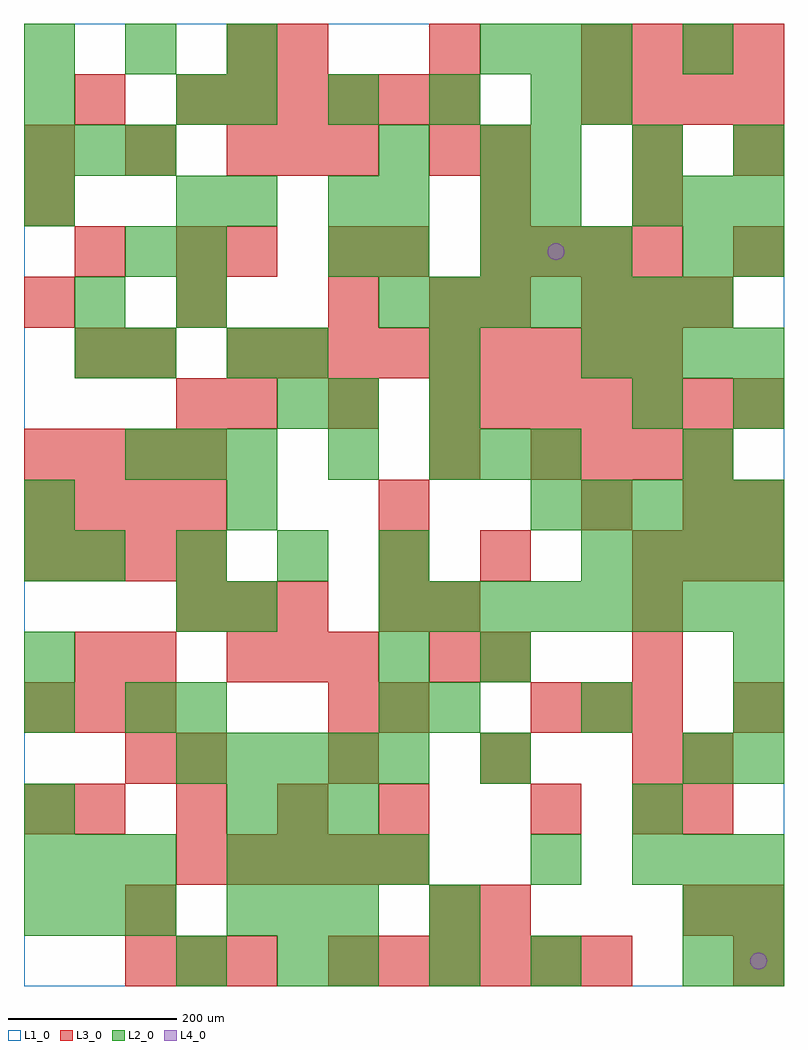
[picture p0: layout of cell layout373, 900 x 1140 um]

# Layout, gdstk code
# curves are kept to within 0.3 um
import gdstk
lib = gdstk.Library(unit=1e-6, precision=1e-09)
def R(c, l, rs):  # rectangles x0, y0, x1, y1
    for r in rs: c.add(gdstk.rectangle(r[:2], r[2:], *l))
def A(c, l, x, y, w, h, nx, ny, dx, dy):  # array of equal rectangles
    R(c, l, [(x+i*dx, y+j*dy, x+i*dx+w, y+j*dy+h) for i in range(nx) for j in range(ny)])
def P(c, l, *ps):  # polygons
    for p in ps: c.add(gdstk.Polygon(p, *l))
L1_0 = (1, 0)
L2_0 = (2, 0)
L3_0 = (3, 0)
L4_0 = (4, 0)

layout373 = lib.new_cell('layout373')
R(layout373, L1_0, [(0,0,900,1140)])
A(layout373, L2_0, 360, 0, 60, 60, 3, 1, 120, 0)
A(layout373, L2_0, 0, 60, 60, 60, 3, 2, 60, 60)
A(layout373, L2_0, 240, 60, 60, 60, 3, 2, 60, 120)
A(layout373, L2_0, 240, 120, 60, 60, 4, 1, 60, 0)
A(layout373, L2_0, 720, 120, 60, 60, 3, 2, 60, 600)
A(layout373, L2_0, 180, 240, 60, 60, 5, 1, 60, 0)
A(layout373, L2_0, 480, 300, 60, 60, 3, 1, 180, 0)
A(layout373, L2_0, 420, 420, 60, 60, 8, 1, 60, 0)
A(layout373, L2_0, 60, 480, 60, 60, 4, 1, 120, 0)
A(layout373, L2_0, 660, 480, 60, 60, 4, 1, 60, 0)
A(layout373, L2_0, 240, 540, 60, 60, 1, 3, 0, 180)
A(layout373, L2_0, 600, 540, 60, 60, 5, 1, 60, 0)
A(layout373, L2_0, 120, 600, 60, 60, 3, 1, 60, 0)
A(layout373, L2_0, 480, 600, 60, 60, 3, 1, 60, 0)
A(layout373, L2_0, 780, 600, 60, 60, 1, 3, 0, 240)
A(layout373, L2_0, 300, 720, 60, 60, 3, 1, 180, 0)
A(layout373, L2_0, 180, 780, 60, 60, 1, 3, 0, 60)
A(layout373, L2_0, 420, 780, 60, 60, 7, 1, 60, 0)
A(layout373, L2_0, 420, 840, 60, 60, 1, 3, 0, 60)
A(layout373, L2_0, 540, 840, 60, 60, 3, 2, 60, 240)
A(layout373, L2_0, 720, 900, 60, 60, 3, 1, 60, 0)
A(layout373, L2_0, 0, 960, 60, 60, 3, 1, 60, 0)
A(layout373, L2_0, 600, 960, 60, 60, 3, 1, 120, 0)
A(layout373, L2_0, 240, 1020, 60, 60, 4, 1, 120, 0)
A(layout373, L2_0, 0, 1080, 60, 60, 3, 1, 120, 0)
R(layout373, L2_0, [(180,0,240,60), (300,0,360,60), (780,0,840,60), (840,0,900,60), (480,60,540,120), (780,60,840,120), (840,60,900,120), (600,120,660,180), (0,180,60,240), (720,180,780,240), (540,240,600,300), (780,240,840,300), (840,240,900,300), (0,300,60,360), (120,300,180,360), (180,300,240,360), (420,300,480,360), (0,360,60,420), (420,360,480,420), (540,360,600,420), (840,360,900,420), (180,420,240,480), (240,420,300,480), (0,480,60,540), (0,540,60,600), (360,600,420,660), (300,660,360,720), (360,660,420,720), (480,660,540,720), (720,660,780,720), (840,660,900,720), (60,720,120,780), (120,720,180,780), (60,780,120,840), (120,840,180,900), (360,840,420,900), (840,840,900,900), (0,900,60,960), (360,900,420,960), (540,900,600,960), (600,900,660,960), (540,960,600,1020), (0,1020,60,1080), (180,1020,240,1080), (660,1020,720,1080)])
A(layout373, L3_0, 120, 0, 60, 60, 3, 1, 60, 0)
A(layout373, L3_0, 360, 0, 60, 60, 6, 1, 60, 0)
A(layout373, L3_0, 840, 60, 60, 60, 1, 3, 0, 240)
A(layout373, L3_0, 180, 120, 60, 60, 5, 1, 60, 0)
A(layout373, L3_0, 60, 180, 60, 60, 4, 1, 120, 0)
A(layout373, L3_0, 180, 240, 60, 60, 4, 1, 180, 0)
A(layout373, L3_0, 0, 300, 60, 60, 3, 1, 60, 0)
A(layout373, L3_0, 600, 300, 60, 60, 3, 1, 60, 0)
A(layout373, L3_0, 240, 360, 60, 60, 3, 1, 60, 0)
A(layout373, L3_0, 180, 420, 60, 60, 3, 1, 60, 0)
A(layout373, L3_0, 420, 420, 60, 60, 1, 3, 0, 60)
A(layout373, L3_0, 480, 420, 60, 60, 1, 4, 0, 180)
A(layout373, L3_0, 0, 480, 60, 60, 4, 3, 60, 60)
A(layout373, L3_0, 720, 480, 60, 60, 3, 2, 60, 600)
A(layout373, L3_0, 600, 600, 60, 60, 4, 1, 60, 0)
A(layout373, L3_0, 240, 660, 60, 60, 3, 1, 120, 0)
A(layout373, L3_0, 540, 660, 60, 60, 6, 1, 60, 0)
A(layout373, L3_0, 240, 720, 60, 60, 9, 1, 60, 0)
A(layout373, L3_0, 0, 780, 60, 60, 3, 1, 180, 0)
A(layout373, L3_0, 660, 780, 60, 60, 3, 1, 60, 0)
A(layout373, L3_0, 540, 840, 60, 60, 4, 1, 60, 0)
A(layout373, L3_0, 0, 960, 60, 60, 3, 1, 120, 0)
A(layout373, L3_0, 180, 1020, 60, 60, 6, 1, 60, 0)
A(layout373, L3_0, 660, 1020, 60, 60, 4, 1, 60, 0)
A(layout373, L3_0, 300, 1080, 60, 60, 3, 1, 180, 0)
R(layout373, L3_0, [(840,0,900,60), (120,60,180,120), (480,60,540,120), (540,60,600,120), (780,60,840,120), (0,180,60,240), (600,180,660,240), (720,180,780,240), (780,180,840,240), (120,240,180,300), (780,240,840,300), (360,300,420,360), (420,300,480,360), (60,360,120,420), (120,360,180,420), (480,360,540,420), (540,360,600,420), (720,360,780,420), (720,420,780,480), (540,480,600,540), (660,540,720,600), (780,540,840,600), (180,660,240,720), (60,720,120,780), (120,720,180,780), (540,780,600,840), (60,840,120,900), (180,840,240,900), (240,840,300,900), (360,840,420,900), (420,840,480,900), (840,840,900,900), (0,900,60,960), (540,900,600,960), (720,900,780,960), (300,960,360,1020), (360,960,420,1020), (540,960,600,1020), (720,960,780,1020), (840,960,900,1020), (60,1020,120,1080), (240,1080,300,1140)])
P(layout373, L4_0, [(640,870),(639.239,873.827),(637.071,877.071),(633.827,879.239),(630,880),(626.173,879.239),(622.929,877.071),(620.761,873.827),(620,870),(620.761,866.173),(622.929,862.929),(626.173,860.761),(630,860),(633.827,860.761),(637.071,862.929),(639.239,866.173)],
  [(880,30),(879.239,33.827),(877.071,37.071),(873.827,39.239),(870,40),(866.173,39.239),(862.929,37.071),(860.761,33.827),(860,30),(860.761,26.173),(862.929,22.929),(866.173,20.761),(870,20),(873.827,20.761),(877.071,22.929),(879.239,26.173)])

lib.write_gds('layout373.gds')
